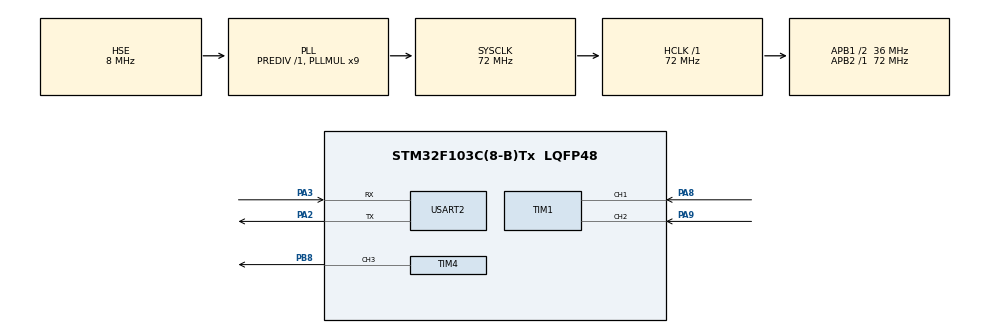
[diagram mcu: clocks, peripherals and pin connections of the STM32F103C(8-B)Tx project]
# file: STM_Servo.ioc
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Mcu.Family=STM32F1
Mcu.Name=STM32F103C(8-B)Tx
Mcu.Package=LQFP48
NVIC.PriorityGroup=NVIC_PRIORITYGROUP_4
PA13.Mode=Serial_Wire
PA13.Signal=SYS_JTMS-SWDIO
PA14.Mode=Serial_Wire
PA14.Signal=SYS_JTCK-SWCLK
PA2.Mode=Asynchronous
PA2.Signal=USART2_TX
PA3.Mode=Asynchronous
PA3.Signal=USART2_RX
PA8.Signal=S_TIM1_CH1
PA9.Signal=S_TIM1_CH2
PB8.Signal=S_TIM4_CH3
PD0-OSC_IN.Mode=HSE-External-Oscillator
PD0-OSC_IN.Signal=RCC_OSC_IN
PD1-OSC_OUT.Mode=HSE-External-Oscillator
PD1-OSC_OUT.Signal=RCC_OSC_OUT
ProjectManager.HeapSize=0x200
ProjectManager.StackSize=0x400
ProjectManager.TargetToolchain=STM32CubeIDE
RCC.AHBFreq_Value=72000000
RCC.APB1CLKDivider=RCC_HCLK_DIV2
RCC.APB1Freq_Value=36000000
RCC.APB1TimFreq_Value=72000000
RCC.APB2Freq_Value=72000000
RCC.APB2TimFreq_Value=72000000
RCC.HCLKFreq_Value=72000000
RCC.PLLMUL=RCC_PLL_MUL9
RCC.PLLSourceVirtual=RCC_PLLSOURCE_HSE
RCC.SYSCLKFreq_VALUE=72000000
RCC.SYSCLKSource=RCC_SYSCLKSOURCE_PLLCLK
RCC.USBFreq_Value=72000000
SH.S_TIM1_CH1.0=TIM1_CH1,Encoder_Interface
SH.S_TIM1_CH2.0=TIM1_CH2,Encoder_Interface
SH.S_TIM4_CH3.0=TIM4_CH3,PWM Generation3 CH3
TIM4.Channel-PWM\ Generation3\ CH3=TIM_CHANNEL_3
TIM4.Period=2000-1
TIM4.Prescaler=720-1
USART2.VirtualMode=VM_ASYNC
VP_TIM4_VS_ClockSourceINT.Mode=Internal
board=custom

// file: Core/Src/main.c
/* USER CODE BEGIN Header */
/**
  ******************************************************************************
  * @file           : main.c
  * @brief          : Main program body
  ******************************************************************************
  * @attention
  *
  * Copyright (c) 2026 STMicroelectronics.
  * All rights reserved.
  *
  * This software is licensed under terms that can be found in the LICENSE file
  * in the root directory of this software component.
  * If no LICENSE file comes with this software, it is provided AS-IS.
  *
  ******************************************************************************
  */
/* USER CODE END Header */
#include "main.h"

/* USER CODE BEGIN Includes */
#include <stdlib.h>
/* USER CODE END Includes */

TIM_HandleTypeDef htim1;
TIM_HandleTypeDef htim4;

UART_HandleTypeDef huart2;

void SystemClock_Config(void);
static void MX_GPIO_Init(void);
static void MX_TIM1_Init(void);
static void MX_TIM4_Init(void);
static void MX_USART2_UART_Init(void);

int main(void)
{

  /* MCU Configuration--------------------------------------------------------*/

  /* Reset of all peripherals, Initializes the Flash interface and the Systick. */
  HAL_Init();

  /* Configure the system clock */
  SystemClock_Config();

  /* Initialize all configured peripherals */
  MX_GPIO_Init();
  MX_TIM1_Init();
  MX_TIM4_Init();
  MX_USART2_UART_Init();
  /* USER CODE BEGIN 2 */
  HAL_TIM_Encoder_Start(&htim1, TIM_CHANNEL_ALL);
  HAL_TIM_PWM_Start(&htim4, TIM_CHANNEL_3);

//  int count = 0;
//  int duty=0;//最终输出到舵机的PWM占空比
//  uint8_t ch;

  int duty = 0;                 // PWM比较值
  int angle = 0;                // 舵机角度

  uint8_t ch;                   // 接收一个字符
  char rxBuf[10];               // 接收字符串缓冲区
  uint8_t index = 0;
  /* USER CODE END 2 */

  /* Infinite loop */
  /* USER CODE BEGIN WHILE */
  while (1)
  {
	  // 接收一个字符（阻塞）
	      HAL_UART_Receive(&huart2, &ch, 1, HAL_MAX_DELAY);
	      // 回显，方便观察
	      HAL_UART_Transmit(&huart2, &ch, 1, 100);
	      // 收到回车或换行，表示输入结束
	      if(ch == '\r' || ch == '\n')
	      {
	          // 防止空字符串
	          if(index > 0)
	          {
	              rxBuf[index] = '\0';      // 字符串结束符
	              angle = atoi(rxBuf);      // 字符串转整数
	              // 限制角度范围
	              if(angle < 0)
	                  angle = 0;
	              if(angle > 180)
	                  angle = 180;
	              // 角度转换为PWM
	              duty = (angle / 18.0f + 2.5f) / 100.0f * 2000.0f;
	              __HAL_TIM_SET_COMPARE(&htim4, TIM_CHANNEL_3, duty);
	          }
	          // 清空缓冲区，准备下一次输入
	          index = 0;
	      }
	      else
	      {
	          // 普通字符存入缓冲区
	          if(index < sizeof(rxBuf) - 1)
	          {
	              rxBuf[index++] = ch;
	          }
	          else
	          {
	              // 输入过长，重新开始接收
	              index = 0;
	          }
	      }

//	  HAL_UART_Receive(&huart2, &ch, 1, HAL_MAX_DELAY);
//	  HAL_UART_Transmit(&huart2, &ch, 1, 100);
//	  duty=((ch+45)/(float)18)/100*2000;
//	  __HAL_TIM_SET_COMPARE(&htim4,TIM_CHANNEL_3,duty);

//	  count=__HAL_TIM_GET_COUNTER(&htim1);
//	  if(count>60000)
//	  {
//		  count=0;
//		  __HAL_TIM_SET_COUNTER(&htim1,0);
//	  }
//	  else if(count>20)
//	  {
//		  count=20;
//		  __HAL_TIM_SET_COUNTER(&htim1,20);//让舵机旋转角度与旋转编码器角度一致
//	  }
//
//	  duty=(10*count/(float)20+2.5)/100*2000;
//	  __HAL_TIM_SET_COMPARE(&htim4,TIM_CHANNEL_3,duty);
    /* USER CODE END WHILE */

  }
}

void SystemClock_Config(void)
{
  RCC_OscInitTypeDef RCC_OscInitStruct = {0};
  RCC_ClkInitTypeDef RCC_ClkInitStruct = {0};

  /** Initializes the RCC Oscillators according to the specified parameters
  * in the RCC_OscInitTypeDef structure.
  */
  RCC_OscInitStruct.OscillatorType = RCC_OSCILLATORTYPE_HSE;
  RCC_OscInitStruct.HSEState = RCC_HSE_ON;
  RCC_OscInitStruct.HSEPredivValue = RCC_HSE_PREDIV_DIV1;
  RCC_OscInitStruct.HSIState = RCC_HSI_ON;
  RCC_OscInitStruct.PLL.PLLState = RCC_PLL_ON;
  RCC_OscInitStruct.PLL.PLLSource = RCC_PLLSOURCE_HSE;
  RCC_OscInitStruct.PLL.PLLMUL = RCC_PLL_MUL9;
  if (HAL_RCC_OscConfig(&RCC_OscInitStruct) != HAL_OK)
  {
    Error_Handler();
  }

  /** Initializes the CPU, AHB and APB buses clocks
  */
  RCC_ClkInitStruct.ClockType = RCC_CLOCKTYPE_HCLK|RCC_CLOCKTYPE_SYSCLK
                              |RCC_CLOCKTYPE_PCLK1|RCC_CLOCKTYPE_PCLK2;
  RCC_ClkInitStruct.SYSCLKSource = RCC_SYSCLKSOURCE_PLLCLK;
  RCC_ClkInitStruct.AHBCLKDivider = RCC_SYSCLK_DIV1;
  RCC_ClkInitStruct.APB1CLKDivider = RCC_HCLK_DIV2;
  RCC_ClkInitStruct.APB2CLKDivider = RCC_HCLK_DIV1;

  if (HAL_RCC_ClockConfig(&RCC_ClkInitStruct, FLASH_LATENCY_2) != HAL_OK)
  {
    Error_Handler();
  }
}

static void MX_TIM1_Init(void)
{

  TIM_Encoder_InitTypeDef sConfig = {0};
  TIM_MasterConfigTypeDef sMasterConfig = {0};

  htim1.Instance = TIM1;
  htim1.Init.Prescaler = 0;
  htim1.Init.CounterMode = TIM_COUNTERMODE_UP;
  htim1.Init.Period = 65535;
  htim1.Init.ClockDivision = TIM_CLOCKDIVISION_DIV1;
  htim1.Init.RepetitionCounter = 0;
  htim1.Init.AutoReloadPreload = TIM_AUTORELOAD_PRELOAD_DISABLE;
  sConfig.EncoderMode = TIM_ENCODERMODE_TI1;
  sConfig.IC1Polarity = TIM_ICPOLARITY_RISING;
  sConfig.IC1Selection = TIM_ICSELECTION_DIRECTTI;
  sConfig.IC1Prescaler = TIM_ICPSC_DIV1;
  sConfig.IC1Filter = 0;
  sConfig.IC2Polarity = TIM_ICPOLARITY_RISING;
  sConfig.IC2Selection = TIM_ICSELECTION_DIRECTTI;
  sConfig.IC2Prescaler = TIM_ICPSC_DIV1;
  sConfig.IC2Filter = 0;
  if (HAL_TIM_Encoder_Init(&htim1, &sConfig) != HAL_OK)
  {
    Error_Handler();
  }
  sMasterConfig.MasterOutputTrigger = TIM_TRGO_RESET;
  sMasterConfig.MasterSlaveMode = TIM_MASTERSLAVEMODE_DISABLE;
  if (HAL_TIMEx_MasterConfigSynchronization(&htim1, &sMasterConfig) != HAL_OK)
  {
    Error_Handler();
  }

}

static void MX_TIM4_Init(void)
{

  TIM_ClockConfigTypeDef sClockSourceConfig = {0};
  TIM_MasterConfigTypeDef sMasterConfig = {0};
  TIM_OC_InitTypeDef sConfigOC = {0};

  htim4.Instance = TIM4;
  htim4.Init.Prescaler = 720-1;
  htim4.Init.CounterMode = TIM_COUNTERMODE_UP;
  htim4.Init.Period = 2000-1;
  htim4.Init.ClockDivision = TIM_CLOCKDIVISION_DIV1;
  htim4.Init.AutoReloadPreload = TIM_AUTORELOAD_PRELOAD_DISABLE;
  if (HAL_TIM_Base_Init(&htim4) != HAL_OK)
  {
    Error_Handler();
  }
  sClockSourceConfig.ClockSource = TIM_CLOCKSOURCE_INTERNAL;
  if (HAL_TIM_ConfigClockSource(&htim4, &sClockSourceConfig) != HAL_OK)
  {
    Error_Handler();
  }
  if (HAL_TIM_PWM_Init(&htim4) != HAL_OK)
  {
    Error_Handler();
  }
  sMasterConfig.MasterOutputTrigger = TIM_TRGO_RESET;
  sMasterConfig.MasterSlaveMode = TIM_MASTERSLAVEMODE_DISABLE;
  if (HAL_TIMEx_MasterConfigSynchronization(&htim4, &sMasterConfig) != HAL_OK)
  {
    Error_Handler();
  }
  sConfigOC.OCMode = TIM_OCMODE_PWM1;
  sConfigOC.Pulse = 0;
  sConfigOC.OCPolarity = TIM_OCPOLARITY_HIGH;
  sConfigOC.OCFastMode = TIM_OCFAST_DISABLE;
  if (HAL_TIM_PWM_ConfigChannel(&htim4, &sConfigOC, TIM_CHANNEL_3) != HAL_OK)
  {
    Error_Handler();
  }
  HAL_TIM_MspPostInit(&htim4);

}

static void MX_USART2_UART_Init(void)
{

  huart2.Instance = USART2;
  huart2.Init.BaudRate = 115200;
  huart2.Init.WordLength = UART_WORDLENGTH_8B;
  huart2.Init.StopBits = UART_STOPBITS_1;
  huart2.Init.Parity = UART_PARITY_NONE;
  huart2.Init.Mode = UART_MODE_TX_RX;
  huart2.Init.HwFlowCtl = UART_HWCONTROL_NONE;
  huart2.Init.OverSampling = UART_OVERSAMPLING_16;
  if (HAL_UART_Init(&huart2) != HAL_OK)
  {
    Error_Handler();
  }

}

static void MX_GPIO_Init(void)
{

  /* GPIO Ports Clock Enable */
  __HAL_RCC_GPIOD_CLK_ENABLE();
  __HAL_RCC_GPIOA_CLK_ENABLE();
  __HAL_RCC_GPIOB_CLK_ENABLE();

}

void Error_Handler(void)
{
  __disable_irq();
  while (1)
  {
  }
}
